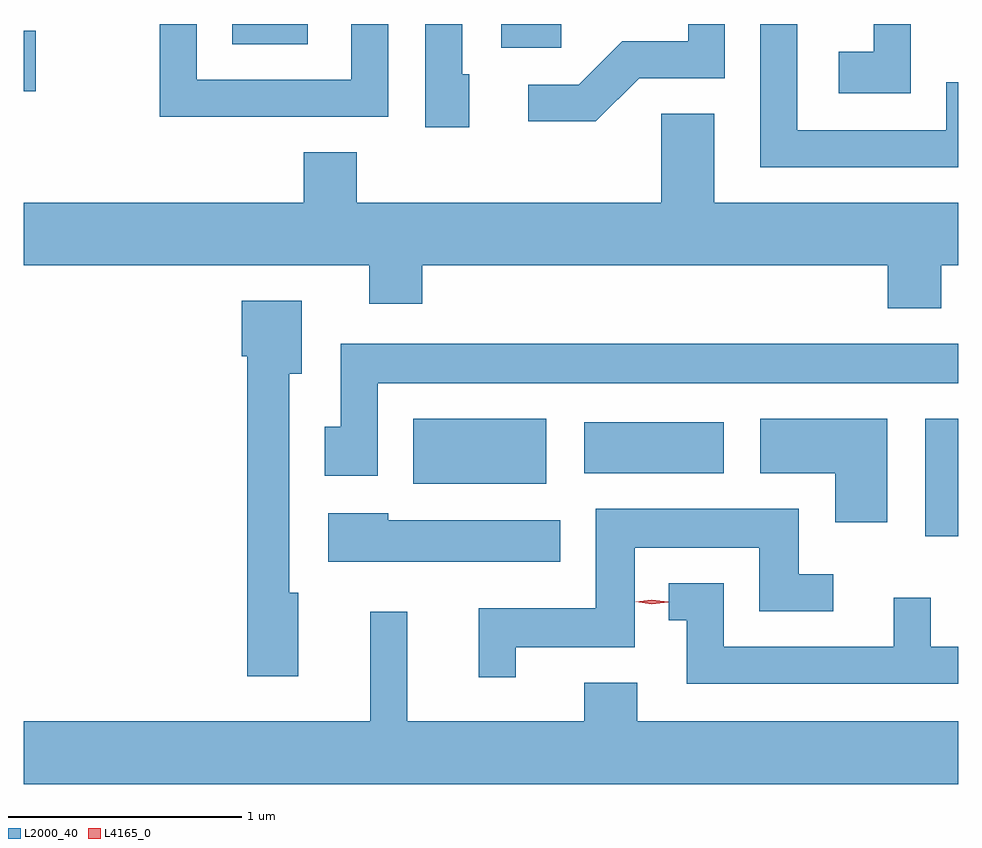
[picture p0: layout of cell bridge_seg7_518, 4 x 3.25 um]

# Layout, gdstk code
import gdstk
lib = gdstk.Library(unit=1e-6, precision=1e-09)
def R(c, l, rs):  # rectangles x0, y0, x1, y1
    for r in rs: c.add(gdstk.rectangle(r[:2], r[2:], *l))
def P(c, l, *ps):  # polygons
    for p in ps: c.add(gdstk.Polygon(p, *l))
L2000_40 = (2000, 40)
L4165_0 = (4165, 0)

bridge_seg7_518 = lib.new_cell('bridge_seg7_518')
R(bridge_seg7_518, L2000_40, [(899.361,1759.776,899.503,1760.279), (897.171,1760.001,897.739,1760.279), (897.901,1760.046,898.499,1760.264), (895.503,1761.681,895.554,1761.939), (897.546,1761.866,897.804,1761.968), (896.396,1761.881,896.719,1761.968)])
P(bridge_seg7_518, L2000_40, [(899.503,1761.719),(899.451,1761.719),(899.451,1761.514),(898.814,1761.514),(898.814,1761.968),(898.656,1761.968),(898.656,1761.356),(899.503,1761.356)],
  [(897.409,1761.754),(897.379,1761.754),(897.379,1761.968),(897.221,1761.968),(897.221,1761.526),(897.409,1761.526)],
  [(899.299,1761.968),(899.141,1761.968),(899.141,1761.849),(898.991,1761.849),(898.991,1761.671),(899.299,1761.671)],
  [(897.064,1761.968),(896.906,1761.968),(896.906,1761.729),(896.244,1761.729),(896.244,1761.968),(896.086,1761.968),(896.086,1761.571),(897.064,1761.571)],
  [(898.137,1761.736),(898.504,1761.736),(898.504,1761.968),(898.346,1761.968),(898.346,1761.894),(898.064,1761.894),(897.879,1761.709),(897.663,1761.709),(897.663,1761.551),(897.952,1761.551)],
  [(899.429,1760.936),(899.503,1760.936),(899.503,1761.204),(898.459,1761.204),(898.459,1761.584),(898.231,1761.584),(898.231,1761.204),(896.929,1761.204),(896.929,1761.419),(896.701,1761.419),(896.701,1761.204),(895.503,1761.204),(895.503,1760.936),(896.981,1760.936),(896.981,1760.771),(897.209,1760.771),(897.209,1760.936),(899.201,1760.936),(899.201,1760.751),(899.429,1760.751)],
  [(896.679,1759.534),(896.639,1759.534),(896.639,1760.471),(896.694,1760.471),(896.694,1760.784),(896.436,1760.784),(896.436,1760.546),(896.461,1760.546),(896.461,1759.176),(896.679,1759.176)],
  [(897.019,1760.431),(899.503,1760.431),(899.503,1760.599),(896.861,1760.599),(896.861,1760.244),(896.791,1760.244),(896.791,1760.036),(897.019,1760.036)],
  [(899.199,1760.279),(898.656,1760.279),(898.656,1760.046),(898.976,1760.046),(898.976,1759.836),(899.199,1759.836)],
  [(897.609,1759.301),(898.119,1759.301),(898.119,1759.726),(898.651,1759.726),(898.651,1759.456),(898.968,1759.456),(898.968,1759.614),(898.819,1759.614),(898.819,1759.894),(897.951,1759.894),(897.951,1759.469),(897.451,1759.469),(897.451,1759.173),(897.609,1759.173)],
  [(897.799,1759.844),(897.064,1759.844),(897.064,1759.874),(896.806,1759.874),(896.806,1759.666),(897.799,1759.666)],
  [(899.503,1759.304),(899.384,1759.304),(899.384,1759.513),(899.226,1759.513),(899.226,1759.304),(898.499,1759.304),(898.499,1759.574),(898.263,1759.574),(898.263,1759.416),(898.341,1759.416),(898.341,1759.146),(899.503,1759.146)],
  [(899.503,1758.984),(898.129,1758.984),(898.129,1759.149),(897.901,1759.149),(897.901,1758.984),(897.144,1758.984),(897.144,1759.453),(896.986,1759.453),(896.986,1758.984),(895.503,1758.984),(895.503,1758.716),(899.503,1758.716)])
P(bridge_seg7_518, L4165_0, [(898.191,1759.485),(898.122,1759.495),(898.122,1759.495),(898.122,1759.496),(898.191,1759.505),(898.261,1759.495),(898.261,1759.495),(898.261,1759.494)])

lib.write_gds('bridge_seg7_518.gds')
